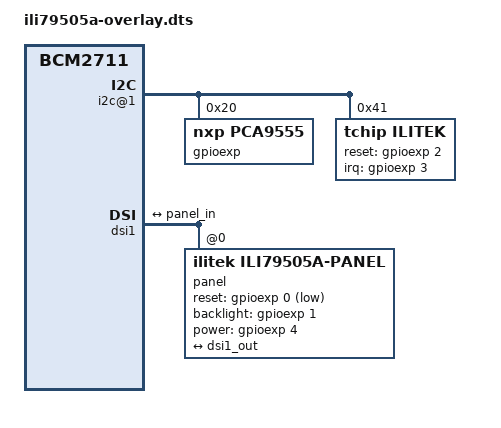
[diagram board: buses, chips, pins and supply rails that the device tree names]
// SPDX-License-Identifier: GPL-2.0-only
/dts-v1/;
/plugin/;

/* From the supplied BOE/GT911 ZIP: keep the DSI1/TCA9555 wiring, replace
 * the panel and I2C client with ILI79505A. P04 enables the +/-5.8 V bias.
 */
/ {
    compatible = "brcm,bcm2711";

    fragment@0 {
        target-path = "/soc/i2c0mux/i2c@1";
        __overlay__ {
            status = "okay";
            #address-cells = <1>;
            #size-cells = <0>;

            gpioexp: gpio@20 {
                compatible = "nxp,pca9555";
                reg = <0x20>;
                gpio-controller;
                #gpio-cells = <2>;
                gpio-line-names = "LCD_RST", "LCD_EN", "TP_RST",
                                  "TP_INT", "LCD_BIAS_EN";
            };

            ilitek: touchscreen@41 {
                compatible = "tchip,ilitek";
                reg = <0x41>;
                touch,reset-gpio = <&gpioexp 2 0>;
                touch,irq-gpio = <&gpioexp 3 0>;
            };
        };
    };

    fragment@1 {
        target = <&dsi1>;
        __overlay__ {
            status = "okay";
            #address-cells = <1>;
            #size-cells = <0>;

            panel: panel@0 {
                compatible = "ilitek,ili79505a-panel";
                reg = <0>;
                reset-gpios = <&gpioexp 0 1>;
                backlight-gpios = <&gpioexp 1 0>;
                power-gpios = <&gpioexp 4 0>;

                port {
                    panel_in: endpoint {
                        remote-endpoint = <&dsi1_out>;
                    };
                };
            };

            port {
                dsi1_out: endpoint {
                    remote-endpoint = <&panel_in>;
                    data-lanes = <0 1>;
                };
            };
        };
    };

    fragment@2 {
        target = <&spidev0>;
        __overlay__ { status = "disabled"; };
    };
};
